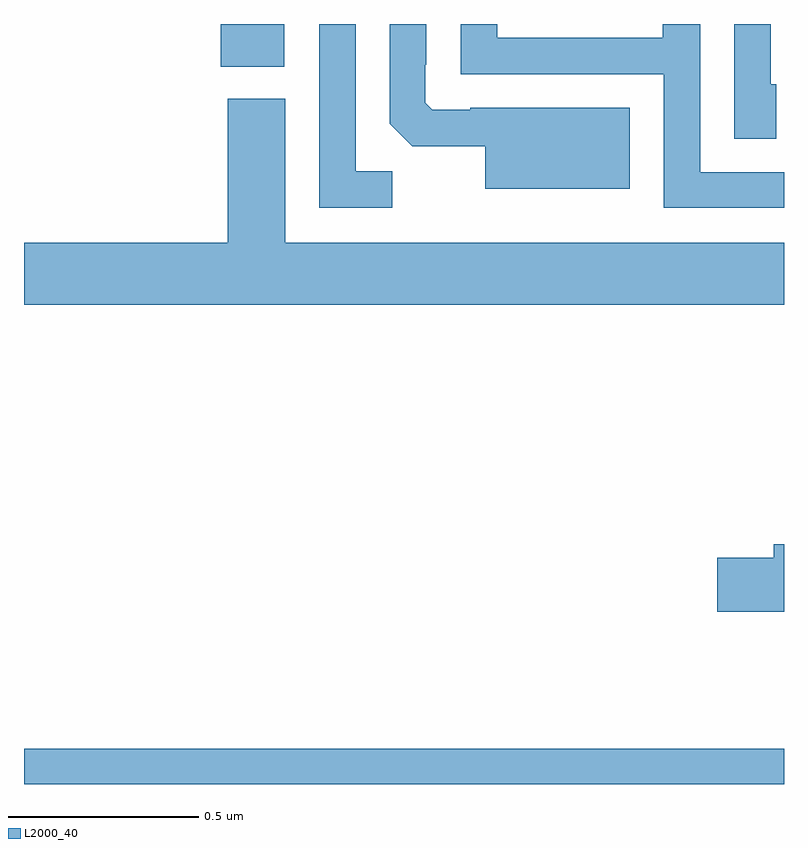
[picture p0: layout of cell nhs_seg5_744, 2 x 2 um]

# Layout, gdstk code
import gdstk
lib = gdstk.Library(unit=1e-6, precision=1e-09)
def R(c, l, rs):  # rectangles x0, y0, x1, y1
    for r in rs: c.add(gdstk.rectangle(r[:2], r[2:], *l))
def P(c, l, *ps):  # polygons
    for p in ps: c.add(gdstk.Polygon(p, *l))
L2000_40 = (2000, 40)

nhs_seg5_744 = lib.new_cell('nhs_seg5_744')
R(nhs_seg5_744, L2000_40, [(120,888.799,122,888.892), (120.518,890.687,120.685,890.799)])
P(nhs_seg5_744, L2000_40, [(122,890.409),(121.779,890.409),(121.779,890.799),(121.681,890.799),(121.681,890.763),(121.245,890.763),(121.245,890.799),(121.149,890.799),(121.149,890.667),(121.683,890.667),(121.683,890.316),(122,890.316)],
  [(121.594,890.578),(121.174,890.578),(121.174,890.574),(121.074,890.574),(121.056,890.592),(121.056,890.692),(121.059,890.692),(121.059,890.799),(120.963,890.799),(120.963,890.536),(121.022,890.477),(121.214,890.477),(121.214,890.366),(121.594,890.366)],
  [(121.98,890.64),(121.965,890.64),(121.965,890.799),(121.869,890.799),(121.869,890.497),(121.98,890.497)],
  [(120.969,890.411),(120.873,890.411),(120.873,890.799),(120.777,890.799),(120.777,890.316),(120.969,890.316)],
  [(122,890.224),(120.688,890.224),(120.688,890.602),(120.536,890.602),(120.536,890.224),(120,890.224),(120,890.06),(122,890.06)],
  [(122,889.43),(121.973,889.43),(121.973,889.394),(121.824,889.394),(121.824,889.252),(122,889.252)])

lib.write_gds('nhs_seg5_744.gds')
